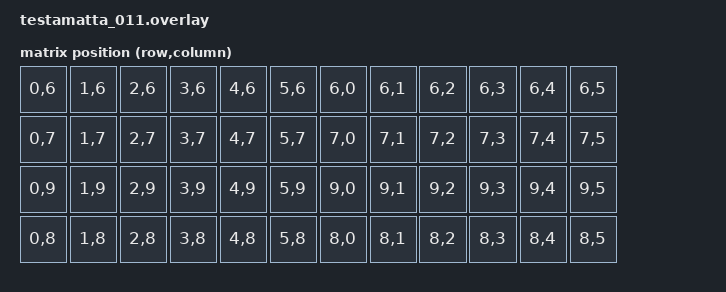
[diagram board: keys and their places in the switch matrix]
/*
 * Copyright (c) 2022 The ZMK Contributors
 *
 * SPDX-License-Identifier: MIT
 */

#include <dt-bindings/zmk/matrix_transform.h>

/ {
    chosen {
        zmk,kscan = &kscan0;
        zmk,matrix_transform = &default_transform;
    };

    default_transform: keymap_transform_0 {
        compatible = "zmk,matrix-transform";
        columns = <12>;
        rows = <4>;
        // On testamatta 011, note first 4 rows is left side, last 4 rows is right side
        map = <
			RC(0,6) RC(1,6) RC(2,6) RC(3,6) RC(4,6) RC(5,6)   RC(6,0) RC(6,1) RC(6,2) RC(6,3) RC(6,4) RC(6,5)
            RC(0,7) RC(1,7) RC(2,7) RC(3,7) RC(4,7) RC(5,7)   RC(7,0) RC(7,1) RC(7,2) RC(7,3) RC(7,4) RC(7,5)
            RC(0,9) RC(1,9) RC(2,9) RC(3,9) RC(4,9) RC(5,9)   RC(9,0) RC(9,1) RC(9,2) RC(9,3) RC(9,4) RC(9,5)
            RC(0,8) RC(1,8) RC(2,8) RC(3,8) RC(4,8) RC(5,8)   RC(8,0) RC(8,1) RC(8,2) RC(8,3) RC(8,4) RC(8,5)
        >;
    };

//    kscan0: kscan_deghost {
//        compatible = "zmk,kscan-deghost";
//        kscan = <&kscan1>;
//        transform = <&default_transform>;
//    };

    kscan0: kscan_0 {
        compatible = "zmk,kscan-gpio-charlieplex";
        gpios
            = <&xiao_d 4 (GPIO_ACTIVE_HIGH | GPIO_PULL_DOWN)>
            , <&xiao_d 5 (GPIO_ACTIVE_HIGH | GPIO_PULL_DOWN)>
            , <&xiao_d 0 (GPIO_ACTIVE_HIGH | GPIO_PULL_DOWN)>
            , <&xiao_d 1 (GPIO_ACTIVE_HIGH | GPIO_PULL_DOWN)>
            , <&xiao_d 2 (GPIO_ACTIVE_HIGH | GPIO_PULL_DOWN)>
            , <&xiao_d 3 (GPIO_ACTIVE_HIGH | GPIO_PULL_DOWN)>

            , <&xiao_d 7 (GPIO_ACTIVE_HIGH | GPIO_PULL_DOWN)>
            , <&xiao_d 8 (GPIO_ACTIVE_HIGH | GPIO_PULL_DOWN)>
            , <&xiao_d 9 (GPIO_ACTIVE_HIGH | GPIO_PULL_DOWN)>
            , <&xiao_d 10 (GPIO_ACTIVE_HIGH | GPIO_PULL_DOWN)>
			;
        debounce-scan-period-ms = <2>;
    };
};

&xiao_spi { status = "disabled"; };
&xiao_serial { status = "disabled"; };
